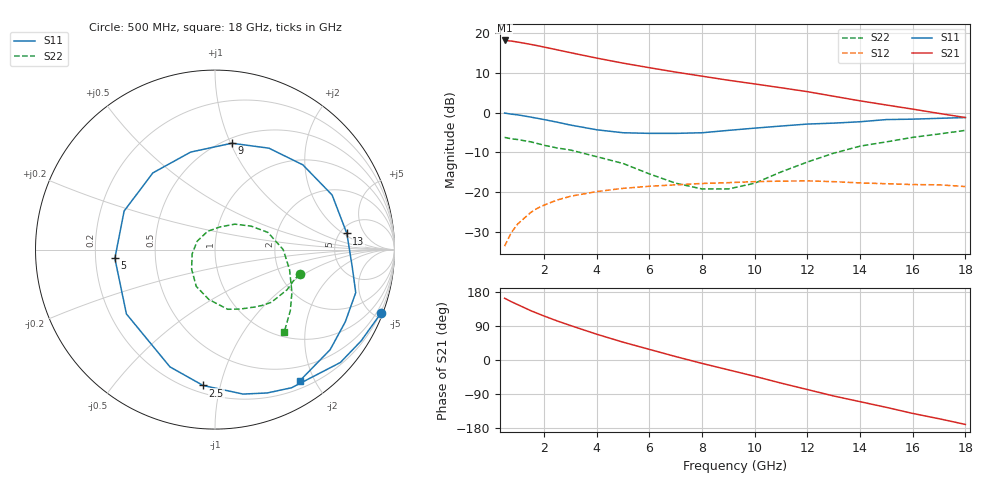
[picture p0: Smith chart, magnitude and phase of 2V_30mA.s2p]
!ATF-35143
!S-PARAMETERS at Vds=2V  Id=30mA.  LAST UPDATED 06-3-99
# ghz s ma r 50
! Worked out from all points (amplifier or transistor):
!   23 points, 500 MHz to 18 GHz, reference 50 ohm
!   highest |S21| = 18.2 dB at 500 MHz (marker M1)
!   |S21| within 3 dB of that: start of sweep to 2.952 GHz
!   unconditionally stable (mu >= 1): 7.131 GHz to end of sweep
!   at 1.5 GHz: K = 0.31, MSG = 21.1 dB, |S12| = -25.0 dB
!   at 7 GHz: K = 0.99, MSG = 14.2 dB, |S12| = -18.1 dB
!   at 18 GHz: K = 1.27, MAG = 5.6 dB, |S12| = -18.6 dB
!   lowest NFmin = 0.11 dB at 500 MHz
!   S11 on the Smith chart (normalised r, x): 500 MHz: 0.15, -5.39; 2.5 GHz: 0.25, -0.89; 5 GHz: 0.28, -0.04; 9 GHz: 0.55, +1.01; 13 GHz: 5.75, +2.29; 18 GHz: 0.30, -1.80
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0.5  0.99 -21.0  8.1 163.0  0.021 77.0  0.49 -16.0
0.75  0.96 -32.0  7.96 154.0  0.031 71.0  0.47 -22.0
1  0.94 -42.0  7.73 146.0  0.04 65.0  0.46 -29.0
1.5  0.88 -61.0  7.22 130.0  0.056 55.0  0.43 -43.0
1.75  0.85 -70.0  6.96 123.0  0.063 50.0  0.41 -49.0
2  0.82 -79.0  6.69 116.0  0.069 46.0  0.39 -55.0
2.5  0.76 -95.0  6.17 103.0  0.08 37.0  0.36 -67.0
3  0.7 -111.0  5.69 91.0  0.089 29.0  0.34 -78.0
4  0.61 -144.0  4.86 68.0  0.102 15.0  0.28 -97.0
5  0.56 -175.0  4.2 47.0  0.112 2.0  0.23 -117.0
6  0.55 157.0  3.68 28.0  0.119 -11.0  0.17 -140.0
7  0.55 129.0  3.24 9.0  0.124 -24.0  0.13 -169.0
8  0.56 104.0  2.88 -9.0  0.129 -35.0  0.11 155.0
9  0.6 81.0  2.56 -26.0  0.132 -46.0  0.11 112.0
10  0.64 62.0  2.3 -43.0  0.136 -57.0  0.13 77.0
11  0.68 44.0  2.06 -61.0  0.138 -69.0  0.18 52.0
12  0.72 25.0  1.84 -78.0  0.139 -81.0  0.24 33.0
13  0.74 7.0  1.61 -95.0  0.136 -93.0  0.31 18.0
14  0.77 -7.0  1.41 -110.0  0.131 -103.0  0.38 0.0
15  0.82 -17.0  1.25 -125.0  0.128 -113.0  0.43 -15.0
16  0.83 -29.0  1.11 -141.0  0.125 -124.0  0.49 -29.0
18  0.87 -57.0  0.87 -170.0  0.118 -145.0  0.6 -50.0
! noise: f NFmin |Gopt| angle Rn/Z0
0.5  0.11  0.87  3  0.18
0.9  0.15  0.81  12  0.17
1.5  0.22  0.73  26  0.15
1.8  0.25  0.69  33  0.15
2.5  0.33  0.6  51  0.13
3  0.39  0.54  64  0.12
5  0.64  0.39  127  0.07
6  0.77  0.34  161  0.05
8  1.02  0.33  -130  0.1
10  1.28  0.4  -67  0.3
